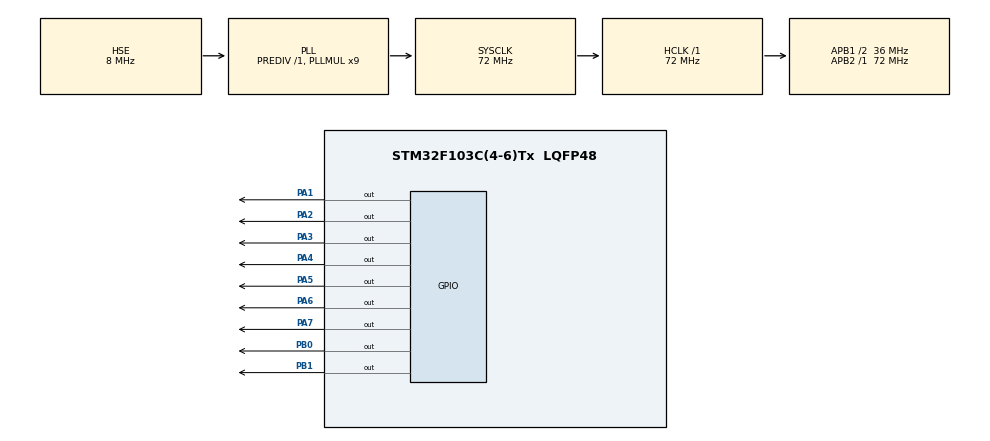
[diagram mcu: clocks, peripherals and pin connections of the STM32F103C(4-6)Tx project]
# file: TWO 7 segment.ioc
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Mcu.Family=STM32F1
Mcu.Name=STM32F103C(4-6)Tx
Mcu.Package=LQFP48
NVIC.PriorityGroup=NVIC_PRIORITYGROUP_4
PA1.Signal=GPIO_Output
PA13.Mode=Serial_Wire
PA13.Signal=SYS_JTMS-SWDIO
PA14.Mode=Serial_Wire
PA14.Signal=SYS_JTCK-SWCLK
PA2.Signal=GPIO_Output
PA3.Signal=GPIO_Output
PA4.Signal=GPIO_Output
PA5.Signal=GPIO_Output
PA6.Signal=GPIO_Output
PA7.Signal=GPIO_Output
PB0.Signal=GPIO_Output
PB1.Signal=GPIO_Output
PD0-OSC_IN.Mode=HSE-External-Oscillator
PD0-OSC_IN.Signal=RCC_OSC_IN
PD1-OSC_OUT.Mode=HSE-External-Oscillator
PD1-OSC_OUT.Signal=RCC_OSC_OUT
ProjectManager.HeapSize=0x200
ProjectManager.StackSize=0x400
ProjectManager.TargetToolchain=STM32CubeIDE
RCC.AHBFreq_Value=72000000
RCC.APB1CLKDivider=RCC_HCLK_DIV2
RCC.APB1Freq_Value=36000000
RCC.APB1TimFreq_Value=72000000
RCC.APB2Freq_Value=72000000
RCC.APB2TimFreq_Value=72000000
RCC.HCLKFreq_Value=72000000
RCC.PLLMUL=RCC_PLL_MUL9
RCC.PLLSourceVirtual=RCC_PLLSOURCE_HSE
RCC.SYSCLKFreq_VALUE=72000000
RCC.SYSCLKSource=RCC_SYSCLKSOURCE_PLLCLK
RCC.USBFreq_Value=72000000
board=custom

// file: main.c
/* USER CODE BEGIN Header */
/**
  ******************************************************************************
  * @file           : main.c
  * @brief          : Main program body
  ******************************************************************************
  * @attention
  *
  * Copyright (c) 2026 STMicroelectronics.
  * All rights reserved.
  *
  * This software is licensed under terms that can be found in the LICENSE file
  * in the root directory of this software component.
  * If no LICENSE file comes with this software, it is provided AS-IS.
  *
  ******************************************************************************
  */
/* USER CODE END Header */
#include "main.h"

/* USER CODE BEGIN PV */

uint8_t seg[10][7] =
{
    // a b c d e f g
    {1,1,1,1,1,1,0},  // 0
    {0,1,1,0,0,0,0},  // 1
    {1,1,0,1,1,0,1},  // 2
    {1,1,1,1,0,0,1},  // 3
    {0,1,1,0,0,1,1},  // 4
    {1,0,1,1,0,1,1},  // 5
    {1,0,1,1,1,1,1},  // 6
    {1,1,1,0,0,0,0},  // 7
    {1,1,1,1,1,1,1},  // 8
    {1,1,1,1,0,1,1}   // 9
};
void display(int num)
{
    HAL_GPIO_WritePin(GPIOA, GPIO_PIN_1, seg[num][0]);
    HAL_GPIO_WritePin(GPIOA, GPIO_PIN_2, seg[num][1]);
    HAL_GPIO_WritePin(GPIOA, GPIO_PIN_3, seg[num][2]);
    HAL_GPIO_WritePin(GPIOA, GPIO_PIN_4, seg[num][3]);
    HAL_GPIO_WritePin(GPIOA, GPIO_PIN_5, seg[num][4]);
    HAL_GPIO_WritePin(GPIOA, GPIO_PIN_6, seg[num][5]);
    HAL_GPIO_WritePin(GPIOA, GPIO_PIN_7, seg[num][6]);
}
void display_number(int number)
{
    int tens;
    int units;

    tens = number / 10;
    units = number % 10;

    // Both displays OFF
    HAL_GPIO_WritePin(GPIOB,
                      GPIO_PIN_0 | GPIO_PIN_1,
                      GPIO_PIN_SET);

    // LEFT display → tens
    display(tens);
    HAL_GPIO_WritePin(GPIOB, GPIO_PIN_0, GPIO_PIN_RESET);
    HAL_Delay(2);

    // Both displays OFF
    HAL_GPIO_WritePin(GPIOB,
                      GPIO_PIN_0 | GPIO_PIN_1,
                      GPIO_PIN_SET);

    // RIGHT display → units
    display(units);
    HAL_GPIO_WritePin(GPIOB, GPIO_PIN_1, GPIO_PIN_RESET);
    HAL_Delay(2);
}
/* USER CODE END PV */

void SystemClock_Config(void);
static void MX_GPIO_Init(void);

int main(void)
{

  /* MCU Configuration--------------------------------------------------------*/

  /* Reset of all peripherals, Initializes the Flash interface and the Systick. */
  HAL_Init();

  /* Configure the system clock */
  SystemClock_Config();

  /* Initialize all configured peripherals */
  MX_GPIO_Init();

  /* Infinite loop */
  /* USER CODE BEGIN WHILE */
  while (1)
  {
      for (int number = 0; number <= 99; number++)
      {
          for (int refresh = 0; refresh < 10; refresh++)
          {
              display_number(number);
          }
      }
  }
  /* USER CODE END 3 */
}

void SystemClock_Config(void)
{
  RCC_OscInitTypeDef RCC_OscInitStruct = {0};
  RCC_ClkInitTypeDef RCC_ClkInitStruct = {0};

  /** Initializes the RCC Oscillators according to the specified parameters
  * in the RCC_OscInitTypeDef structure.
  */
  RCC_OscInitStruct.OscillatorType = RCC_OSCILLATORTYPE_HSE;
  RCC_OscInitStruct.HSEState = RCC_HSE_ON;
  RCC_OscInitStruct.HSEPredivValue = RCC_HSE_PREDIV_DIV1;
  RCC_OscInitStruct.HSIState = RCC_HSI_ON;
  RCC_OscInitStruct.PLL.PLLState = RCC_PLL_ON;
  RCC_OscInitStruct.PLL.PLLSource = RCC_PLLSOURCE_HSE;
  RCC_OscInitStruct.PLL.PLLMUL = RCC_PLL_MUL9;
  if (HAL_RCC_OscConfig(&RCC_OscInitStruct) != HAL_OK)
  {
    Error_Handler();
  }

  /** Initializes the CPU, AHB and APB buses clocks
  */
  RCC_ClkInitStruct.ClockType = RCC_CLOCKTYPE_HCLK|RCC_CLOCKTYPE_SYSCLK
                              |RCC_CLOCKTYPE_PCLK1|RCC_CLOCKTYPE_PCLK2;
  RCC_ClkInitStruct.SYSCLKSource = RCC_SYSCLKSOURCE_PLLCLK;
  RCC_ClkInitStruct.AHBCLKDivider = RCC_SYSCLK_DIV1;
  RCC_ClkInitStruct.APB1CLKDivider = RCC_HCLK_DIV2;
  RCC_ClkInitStruct.APB2CLKDivider = RCC_HCLK_DIV1;

  if (HAL_RCC_ClockConfig(&RCC_ClkInitStruct, FLASH_LATENCY_2) != HAL_OK)
  {
    Error_Handler();
  }
}

static void MX_GPIO_Init(void)
{
  GPIO_InitTypeDef GPIO_InitStruct = {0};

  /* GPIO Ports Clock Enable */
  __HAL_RCC_GPIOD_CLK_ENABLE();
  __HAL_RCC_GPIOA_CLK_ENABLE();
  __HAL_RCC_GPIOB_CLK_ENABLE();

  /*Configure GPIO pin Output Level */
  HAL_GPIO_WritePin(GPIOA, GPIO_PIN_1|GPIO_PIN_2|GPIO_PIN_3|GPIO_PIN_4
                          |GPIO_PIN_5|GPIO_PIN_6|GPIO_PIN_7, GPIO_PIN_RESET);

  /*Configure GPIO pin Output Level */
  HAL_GPIO_WritePin(GPIOB, GPIO_PIN_0|GPIO_PIN_1, GPIO_PIN_RESET);

  /*Configure GPIO pins : PA1 PA2 PA3 PA4
                           PA5 PA6 PA7 */
  GPIO_InitStruct.Pin = GPIO_PIN_1|GPIO_PIN_2|GPIO_PIN_3|GPIO_PIN_4
                          |GPIO_PIN_5|GPIO_PIN_6|GPIO_PIN_7;
  GPIO_InitStruct.Mode = GPIO_MODE_OUTPUT_PP;
  GPIO_InitStruct.Pull = GPIO_NOPULL;
  GPIO_InitStruct.Speed = GPIO_SPEED_FREQ_LOW;
  HAL_GPIO_Init(GPIOA, &GPIO_InitStruct);

  /*Configure GPIO pins : PB0 PB1 */
  GPIO_InitStruct.Pin = GPIO_PIN_0|GPIO_PIN_1;
  GPIO_InitStruct.Mode = GPIO_MODE_OUTPUT_PP;
  GPIO_InitStruct.Pull = GPIO_NOPULL;
  GPIO_InitStruct.Speed = GPIO_SPEED_FREQ_LOW;
  HAL_GPIO_Init(GPIOB, &GPIO_InitStruct);

}

void Error_Handler(void)
{
  __disable_irq();
  while (1)
  {
  }
}
